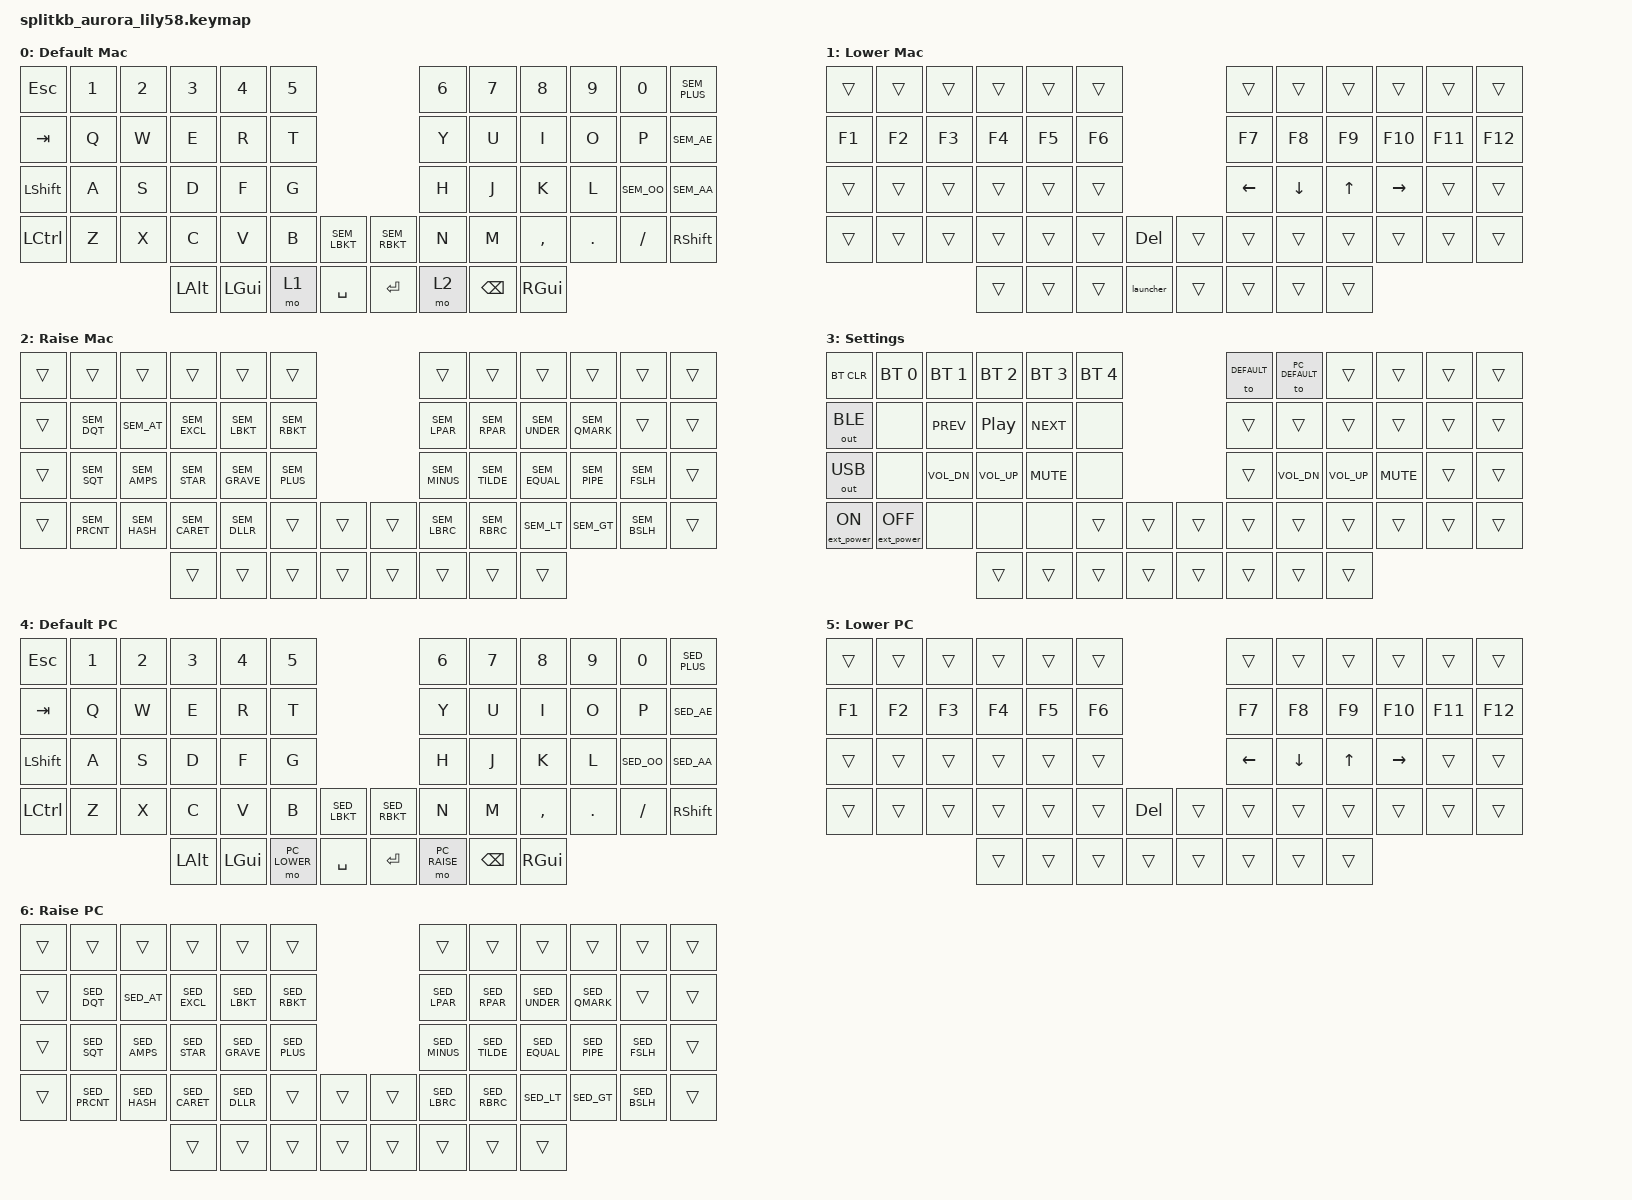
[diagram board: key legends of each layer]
/*

* Copyright (c) 2020 The ZMK Contributors
*
* SPDX-License-Identifier: MIT
 */

# include <behaviors.dtsi>
# include <dt-bindings/zmk/keys.h>
# include <dt-bindings/zmk/bt.h>
# include <dt-bindings/zmk/outputs.h>
# include <dt-bindings/zmk/ext_power.h>

#ifndef KEYMAP_DRAWER
  # include "swe_keys_default.h"
  # include "swe_keys_mac.h"
#endif

# define DEFAULT       0
# define LOWER         1
# define RAISE         2
# define SETTINGS      3
# define PC_DEFAULT    4
# define PC_LOWER      5
# define PC_RAISE      6

/ {
    macros {
        launcher: launcher {
            compatible = "zmk,behavior-macro";
            #binding-cells = <0>;
            bindings = <&macro_press &kp LGUI &macro_pause_for_release &macro_press &kp SPACE>;
        };
    };

    cond_layers {
        compatible = "zmk,conditional-layers";
        // Define SETTINGS layer as tri-state (LOWER + RAISE for Mac)
        lower_raise_tristate {
            if-layers = <LOWER RAISE>;
            then-layer = <SETTINGS>;
        };
        // Define SETTINGS layer as tri-state (PC_LOWER + PC_RAISE for PC)
        pc_lower_raise_tristate {
            if-layers = <PC_LOWER PC_RAISE>;
            then-layer = <SETTINGS>;
        };
    };

    keymap {
        compatible = "zmk,keymap";

        default_layer {
            display-name = "Default Mac";
// ------------------------------------------------------------------------------------------------------------
// | ESC   |  1  |  2  |  3   |  4   |  5   |                   |  6   |  7    |  8    |  9   |   0   |   +   |
// | TAB   |  Q  |  W  |  E   |  R   |  T   |                   |  Y   |  U    |  I    |  O   |   P   |   Å   |
// | SHFT  |  A  |  S  |  D   |  F   |  G   |                   |  H   |  J    |  K    |  L   |   Ö   |   Ä   |
// | CTRL  |  Z  |  X  |  C   |  V   |  B   |   [   |   |   ]   |  N   |  M    |  ,    |  .   |   -   | SHIFT |
//                     | ALT  | GUI  | LOWER|  SPACE |  | ENTER | RAISE| BSPC  | GUI   |
            bindings = <
&kp ESC   &kp N1 &kp N2 &kp N3   &kp N4   &kp N5                              &kp N6 &kp N7   &kp N8    &kp N9  &kp N0   &kp SEM_PLUS
&kp TAB   &kp Q  &kp W  &kp E    &kp R    &kp T                               &kp Y  &kp U    &kp I     &kp O   &kp P    &kp SEM_AE
&kp LSHFT &kp A  &kp S  &kp D    &kp F    &kp G                               &kp H  &kp J    &kp K     &kp L   &kp SEM_OO &kp SEM_AA
&kp LCTRL &kp Z  &kp X  &kp C    &kp V    &kp B  &kp SEM_LBKT   &kp SEM_RBKT  &kp N  &kp M    &kp COMMA &kp DOT &kp FSLH &kp RSHFT
                        &kp LALT &kp LGUI &mo 1  &kp SPACE      &kp RET       &mo 2  &kp BSPC &kp RGUI
            >;

        };

        lower_layer {
            display-name = "Lower Mac";
// ------------------------------------------------------------------------------------------------------------
// |       |     |     |      |      |      |                   |      |       |       |       |       |       |
// |  F1   |  F2 |  F3 |  F4  |  F5  |  F6  |                   |  F7  |  F8   |  F9   |  F10  |  F11  |  F12  |
// |       |     |     |      |      |      |                   | LEFT | DOWN  | UP    | RIGHT |       |       |
// |       |     |     |      |      |      |   DEL  |  |       |      |       |       |       |       |       |
//                     |      |      |      |        |  |       |      |       |       |
            bindings = <
&trans            &trans            &trans          &trans          &trans       &trans                          &trans    &trans    &trans    &trans    &trans    &trans
&kp F1            &kp F2            &kp F3          &kp F4          &kp F5       &kp F6                          &kp F7    &kp F8    &kp F9    &kp F10   &kp F11   &kp F12
&trans            &trans            &trans          &trans          &trans       &trans                          &kp LEFT  &kp DOWN  &kp UP    &kp RIGHT &trans    &trans
&trans            &trans            &trans          &trans          &trans       &trans  &kp DEL         &trans  &trans    &trans    &trans    &trans    &trans    &trans
                                                     &trans          &trans       &trans  &launcher       &trans  &trans    &trans    &trans
            >;

        };

        raise_layer {
            display-name = "Raise Mac";
// ------------------------------------------------------------------------------------------------------------
// |       |     |     |      |      |      |                   |      |       |       |       |       |       |
// |       |  "  |  @  |   !  |  [   |   ]  |                   |  (   |   )   |   _   |   ?   |       |       |
// |       |  '  |  &  |   *  |   `  |   +  |                   |   -  |   ~   |   =   |   |   |   /   |       |
// |       |  %  |  #  |   ^  |   $  |      |        |  |       |  {   |   }   |   <   |   >   |   \   |       |
//                     |      |      |      |        |  |       |      |       |       |
            bindings = <
&trans    &trans          &trans          &trans          &trans          &trans                                     &trans          &trans            &trans             &trans           &trans         &trans
&trans    &kp SEM_DQT     &kp SEM_AT      &kp SEM_EXCL    &kp SEM_LBKT    &kp SEM_RBKT                               &kp SEM_LPAR    &kp SEM_RPAR      &kp SEM_UNDER      &kp SEM_QMARK    &trans         &trans
&trans    &kp SEM_SQT     &kp SEM_AMPS    &kp SEM_STAR    &kp SEM_GRAVE   &kp SEM_PLUS                               &kp SEM_MINUS   &kp SEM_TILDE     &kp SEM_EQUAL      &kp SEM_PIPE     &kp SEM_FSLH   &trans
&trans    &kp SEM_PRCNT   &kp SEM_HASH    &kp SEM_CARET   &kp SEM_DLLR    &trans         &trans             &trans   &kp SEM_LBRC    &kp SEM_RBRC      &kp SEM_LT         &kp SEM_GT       &kp SEM_BSLH   &trans
                                          &trans          &trans          &trans         &trans             &trans   &trans          &trans            &trans
            >;

        };

        settings_layer {
            display-name = "Settings";
// ------------------------------------------------------------------------------------------------------------
// | BTCLR | BT1 | BT2 |  BT3 |  BT4 |  BT5 |                   |      |       |       |       |       |       |
// |  BLE  |     | PREV| PLAY | NEXT |      |                   |      |       |       |       |       |       |
// |  USB  |     | VOL↓| VOL↑ | MUTE |      |                   |      | VOL↓  | VOL↑  | MUTE  |       |       |
// |  EPON | EPOF|     |      |      |      |        |  |       | 2MAC | 2PC   |       |       |       |       |
//                     |      |      |      |        |  |       |      |       |       |
            bindings = <
&bt BT_CLR        &bt BT_SEL 0      &bt BT_SEL 1    &bt BT_SEL 2    &bt BT_SEL 3 &bt BT_SEL 4                     &to DEFAULT   &to PC_DEFAULT    &trans        &trans      &trans    &trans
&out OUT_BLE      &none             &kp C_PREV      &kp C_PP        &kp C_NEXT   &none                            &trans        &trans            &trans        &trans      &trans    &trans
&out OUT_USB      &none             &kp C_VOL_DN    &kp C_VOL_UP    &kp C_MUTE   &none                            &trans        &kp C_VOL_DN      &kp C_VOL_UP  &kp C_MUTE  &trans    &trans
&ext_power EP_ON  &ext_power EP_OFF &none           &none           &none        &trans   &trans        &trans    &trans        &trans            &trans        &trans      &trans    &trans
                                                    &trans          &trans       &trans   &trans        &trans    &trans        &trans            &trans
            >;

        };

        pc_default_layer {
            display-name = "Default PC";
// ------------------------------------------------------------------------------------------------------------
// | ESC   |  1  |  2  |  3   |  4   |  5   |                   |  6   |  7    |  8    |  9   |   0   |   +   |
// | TAB   |  Q  |  W  |  E   |  R   |  T   |                   |  Y   |  U    |  I    |  O   |   P   |   Å   |
// | SHFT  |  A  |  S  |  D   |  F   |  G   |                   |  H   |  J    |  K    |  L   |   Ö   |   Ä   |
// | CTRL  |  Z  |  X  |  C   |  V   |  B   |   [   |   |   ]   |  N   |  M    |  ,    |  .   |   /   | SHIFT |
//                     | ALT  | GUI  | LOWER|  SPACE |  | ENTER | RAISE| BSPC  | GUI   |
            bindings = <
&kp ESC   &kp N1 &kp N2 &kp N3   &kp N4   &kp N5                                      &kp N6          &kp N7   &kp N8    &kp N9  &kp N0      &kp SED_PLUS
&kp TAB   &kp Q  &kp W  &kp E    &kp R    &kp T                                       &kp Y           &kp U    &kp I     &kp O   &kp P       &kp SED_AE
&kp LSHFT &kp A  &kp S  &kp D    &kp F    &kp G                                       &kp H           &kp J    &kp K     &kp L   &kp SED_OO  &kp SED_AA
&kp LCTRL &kp Z  &kp X  &kp C    &kp V    &kp B         &kp SED_LBKT    &kp SED_RBKT  &kp N           &kp M    &kp COMMA &kp DOT &kp FSLH    &kp RSHFT
                        &kp LALT &kp LGUI &mo PC_LOWER  &kp SPACE       &kp RET       &mo PC_RAISE    &kp BSPC  &kp RGUI
            >;

        };

        pc_lower_layer {
            display-name = "Lower PC";
// ------------------------------------------------------------------------------------------------------------
// |       |     |     |      |      |      |                   |      |       |       |       |       |       |
// |  F1   |  F2 |  F3 |  F4  |  F5  |  F6  |                   |  F7  |  F8   |  F9   |  F10  |  F11  |  F12  |
// |       |     |     |      |      |      |                   | LEFT | DOWN  | UP    | RIGHT |       |       |
// |       |     |     |      |      |      |   DEL  |  |       |      |       |       |       |       |       |
//                     |      |      |      |        |  |       |      |       |       |
            bindings = <
&trans    &trans          &trans          &trans          &trans          &trans                          &trans    &trans    &trans    &trans    &trans    &trans
&kp F1    &kp F2          &kp F3          &kp F4          &kp F5          &kp F6                          &kp F7    &kp F8    &kp F9    &kp F10   &kp F11   &kp F12
&trans    &trans          &trans          &trans          &trans          &trans                          &kp LEFT  &kp DOWN  &kp UP    &kp RIGHT &trans    &trans
&trans    &trans          &trans          &trans          &trans          &trans  &kp DEL         &trans  &trans    &trans    &trans    &trans    &trans    &trans
                           &trans          &trans          &trans          &trans                  &trans  &trans    &trans    &trans
            >;

        };

        pc_raise_layer {
            display-name = "Raise PC";
// ------------------------------------------------------------------------------------------------------------
// |       |     |     |      |      |      |                   |      |       |       |       |      |       |
// |       |  "  |  @  |   !  |  [   |   ]  |                   |  (   |   )   |   _   |   ?   |      |       |
// |       |  '  |  &  |   *  |   `  |   +  |                   |   -  |   ~   |   =   |   |   |   /  |       |
// |       |  %  |  #  |   ^  |   $  |      |        |  |       |  {   |   }   |   <   |   >   |   \  |       |
//                     |      |      |      |        |  |       |      |       |       |
            bindings = <
&trans    &trans          &trans          &trans          &trans          &trans                                     &trans          &trans            &trans             &trans           &trans         &trans
&trans    &kp SED_DQT     &kp SED_AT      &kp SED_EXCL    &kp SED_LBKT    &kp SED_RBKT                               &kp SED_LPAR    &kp SED_RPAR      &kp SED_UNDER      &kp SED_QMARK    &trans         &trans
&trans    &kp SED_SQT     &kp SED_AMPS    &kp SED_STAR    &kp SED_GRAVE   &kp SED_PLUS                               &kp SED_MINUS   &kp SED_TILDE     &kp SED_EQUAL      &kp SED_PIPE     &kp SED_FSLH   &trans
&trans    &kp SED_PRCNT   &kp SED_HASH    &kp SED_CARET   &kp SED_DLLR    &trans         &trans             &trans   &kp SED_LBRC    &kp SED_RBRC      &kp SED_LT         &kp SED_GT       &kp SED_BSLH   &trans
                                          &trans          &trans          &trans         &trans             &trans   &trans          &trans            &trans
            >;

        };
    };
};
